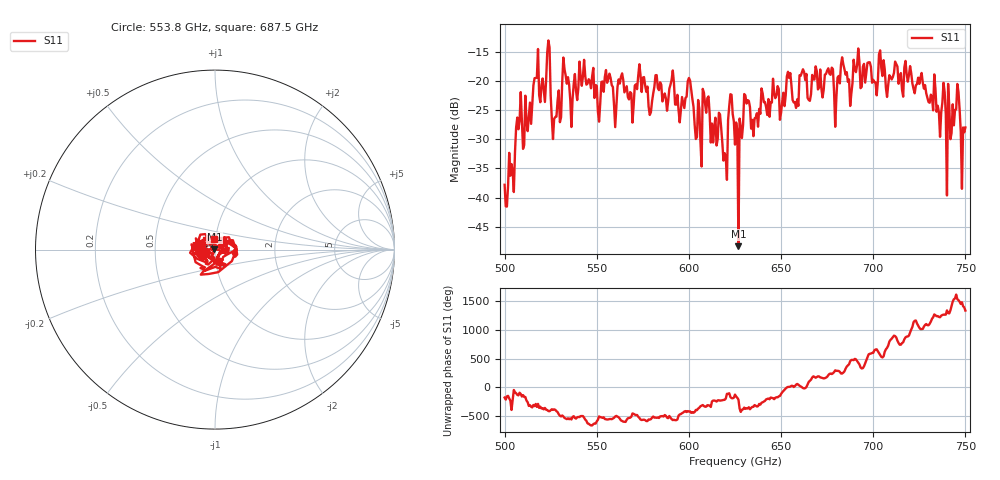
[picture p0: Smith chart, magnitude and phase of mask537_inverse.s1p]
!Created with skrf (http://scikit-rf.org).
# GHz S MA R 50.0
!freq magS11 angS11
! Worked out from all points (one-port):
!   401 points, 500 GHz to 750 GHz, reference 50 ohm
!   lowest |S11| = -48.4 dB at 626.9 GHz (marker M1), VSWR 1.01, Z = 49.7 + j0.21 ohm
!   |S11| at or under -10 dB: start of sweep to end of sweep
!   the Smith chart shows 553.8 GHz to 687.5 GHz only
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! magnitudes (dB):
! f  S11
! 500 GHz  -37.8
! 507.5 GHz  -28.3
! 516.9 GHz  -19.5
! 520.6 GHz  -19.5
! 523.8 GHz  -13.0
! 526.9 GHz  -26.5
! 531.2 GHz  -20.2
! 562.5 GHz  -20.4
! 579.4 GHz  -25.3
! 590.6 GHz  -19.7
! 593.8 GHz  -22.3
! 600.6 GHz  -19.9
! 605.6 GHz  -24.7
! 608.8 GHz  -23.8
! 619.4 GHz  -32.4
! 622.5 GHz  -22.2
! 625 GHz  -30.9
! 626.9 GHz  -48.4
! 631.2 GHz  -23.8
! 635 GHz  -29.5
! 656.2 GHz  -23.2
! 676.9 GHz  -18.9
! 680 GHz  -22.8
! 683.8 GHz  -17.1
! 687.5 GHz  -24.3
! 690.6 GHz  -18.4
! 718.8 GHz  -20.1
! 750 GHz  -28.0
